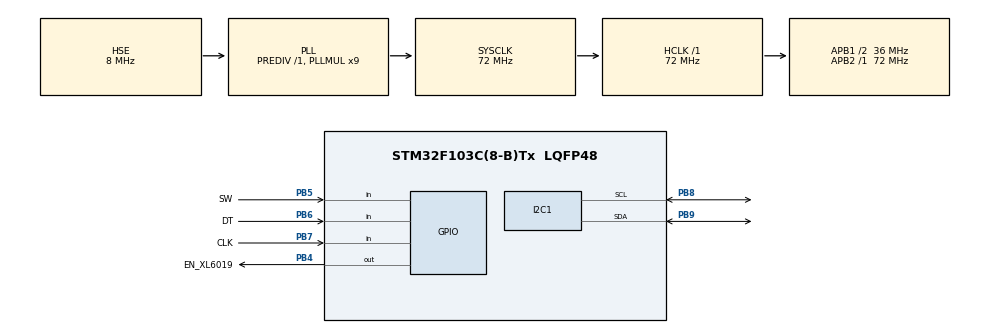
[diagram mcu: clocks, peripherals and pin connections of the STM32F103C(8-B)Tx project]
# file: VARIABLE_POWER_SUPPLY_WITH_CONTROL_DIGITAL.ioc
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Dma.I2C1_TX.0.Direction=DMA_MEMORY_TO_PERIPH
Dma.I2C1_TX.0.Instance=DMA1_Channel6
Dma.I2C1_TX.0.MemDataAlignment=DMA_MDATAALIGN_BYTE
Dma.I2C1_TX.0.MemInc=DMA_MINC_ENABLE
Dma.I2C1_TX.0.Mode=DMA_NORMAL
Dma.I2C1_TX.0.PeriphDataAlignment=DMA_PDATAALIGN_BYTE
Dma.I2C1_TX.0.PeriphInc=DMA_PINC_DISABLE
Dma.I2C1_TX.0.Priority=DMA_PRIORITY_LOW
Dma.Request0=I2C1_TX
I2C1.I2C_Mode=I2C_Fast
Mcu.Family=STM32F1
Mcu.Name=STM32F103C(8-B)Tx
Mcu.Package=LQFP48
NVIC.DMA1_Channel6_IRQn=true\:0\:0\:false\:false\:true\:false\:true\:true
NVIC.I2C1_EV_IRQn=true\:0\:0\:false\:false\:true\:true\:true\:true
NVIC.PriorityGroup=NVIC_PRIORITYGROUP_4
NVIC.TIM4_IRQn=true\:0\:0\:false\:false\:true\:true\:true\:true
PA13.Mode=Serial_Wire
PA13.Signal=SYS_JTMS-SWDIO
PA14.Mode=Serial_Wire
PA14.Signal=SYS_JTCK-SWCLK
PB4.GPIO_Label=EN_XL6019
PB4.Signal=GPIO_Output
PB5.GPIO_Label=SW
PB5.GPIO_Mode=GPIO_MODE_INPUT
PB5.GPIO_PuPd=GPIO_PULLDOWN
PB5.Signal=GPIO_Input
PB6.GPIO_Label=DT
PB6.GPIO_Mode=GPIO_MODE_INPUT
PB6.GPIO_PuPd=GPIO_PULLDOWN
PB6.Signal=GPIO_Input
PB7.GPIO_Label=CLK
PB7.GPIO_Mode=GPIO_MODE_INPUT
PB7.GPIO_PuPd=GPIO_PULLDOWN
PB7.Signal=GPIO_Input
PB8.Mode=I2C
PB8.Signal=I2C1_SCL
PB9.Mode=I2C
PB9.Signal=I2C1_SDA
PD0-OSC_IN.Mode=HSE-External-Oscillator
PD0-OSC_IN.Signal=RCC_OSC_IN
PD1-OSC_OUT.Mode=HSE-External-Oscillator
PD1-OSC_OUT.Signal=RCC_OSC_OUT
ProjectManager.HeapSize=0x200
ProjectManager.StackSize=0x400
ProjectManager.TargetToolchain=STM32CubeIDE
RCC.AHBFreq_Value=72000000
RCC.APB1CLKDivider=RCC_HCLK_DIV2
RCC.APB1Freq_Value=36000000
RCC.APB1TimFreq_Value=72000000
RCC.APB2Freq_Value=72000000
RCC.APB2TimFreq_Value=72000000
RCC.HCLKFreq_Value=72000000
RCC.PLLMUL=RCC_PLL_MUL9
RCC.PLLSourceVirtual=RCC_PLLSOURCE_HSE
RCC.SYSCLKFreq_VALUE=72000000
RCC.SYSCLKSource=RCC_SYSCLKSOURCE_PLLCLK
RCC.USBFreq_Value=72000000
TIM4.Period=10-1
TIM4.Prescaler=36000-1
VP_TIM4_VS_ClockSourceINT.Mode=Internal
board=custom

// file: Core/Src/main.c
/* USER CODE BEGIN Header */
/**
  ******************************************************************************
  * @file           : main.c
  * @brief          : Main program body
  ******************************************************************************
  * @attention
  *
  * Copyright (c) 2025 STMicroelectronics.
  * All rights reserved.
  *
  * This software is licensed under terms that can be found in the LICENSE file
  * in the root directory of this software component.
  * If no LICENSE file comes with this software, it is provided AS-IS.
  *
  ******************************************************************************
  */
/* USER CODE END Header */
#include "main.h"

/* USER CODE BEGIN Includes */
#include "stdio.h" //para sprintf
#include "Anglas_OLED_SSD1306_DMA.h"
#include "Anglas_IMAGENES.h"
#include "Anglas_ENCODER_ROT.h"
#include "Anglas_MCP4725.h"
#include "Anglas_INA226.h"
/* USER CODE END Includes */

I2C_HandleTypeDef hi2c1;
DMA_HandleTypeDef hdma_i2c1_tx;

TIM_HandleTypeDef htim4;

/* USER CODE BEGIN PV */
extern uint16_t encoder;
extern uint16_t paso_Encoder;

uint16_t dacOut;
char buff[50];
float power,current,voltage;
float Vbat;
uint8_t powerSupply=0;

/* USER CODE END PV */

void SystemClock_Config(void);
static void MX_GPIO_Init(void);
static void MX_DMA_Init(void);
static void MX_I2C1_Init(void);
static void MX_TIM4_Init(void);
/* USER CODE BEGIN PFP */
void medirVoltage(void);
void medirCorriente(void);
void medirPotencia(void);
void control_Button_Encoder(void);
void Control_Estabilizar(void);
void calculate_value_dac_12bits(void);
/* USER CODE END PFP */

int main(void)
{

  /* MCU Configuration--------------------------------------------------------*/

  /* Reset of all peripherals, Initializes the Flash interface and the Systick. */
  HAL_Init();

  /* Configure the system clock */
  SystemClock_Config();

  /* Initialize all configured peripherals */
  MX_GPIO_Init();
  MX_DMA_Init();
  MX_I2C1_Init();
  MX_TIM4_Init();
  /* USER CODE BEGIN 2 */
  HAL_TIM_Base_Start_IT(&htim4);

  OLED_Init_DMA();
  //OLED_Imagen_Small_DMA(2,0, AM_INTRO, 128, 64);
  //OLED_Print_Text_DMA(1,0,1,"Designed by G. Anglas");
  //OLED_Print_Text_DMA(0,110,1,"100");

  INA226_Init(3.2768,100,AVG_64,T_Vbus_1_1ms,T_Vshunt_1_1ms,MODE_SHUNT_BUS_CONTINUOUS);
  INA226_Mode_pinAlert(SHUNT_VOLTAGE_OVER);

  OLED_Print_Text_DMA(3,100,2,"OFF");
  OLED_Print_Text_DMA(5,104,1,"1.0");
  OLED_Print_Text_DMA(2,0,3,"0.0V ");
  OLED_Print_Text_DMA(6,25,2,"   0mA");
  OLED_Print_Text_DMA(7,96,1,"0.0W ");

  uint32_t startTime = HAL_GetTick(); // Tiempo inicial

  /* USER CODE END 2 */

  /* Infinite loop */
  /* USER CODE BEGIN WHILE */
  while (1)
  {
	  dacOut = encoder;
	  sprintf(buff,"%4i",dacOut);
	  OLED_Print_Text_DMA(6,96,1,buff);
	  MCP4725_Out(dacOut);

	  control_Button_Encoder();
	  voltage = INA226_Vbus();

	  //MOSTRAR EN EL DISPLAY CADA 700ms
	  if( HAL_GetTick() - startTime >= 700){
    	  medirVoltage();
		  medirCorriente();
		  medirPotencia();
		  startTime = HAL_GetTick();
	  }

    /* USER CODE END WHILE */

  }
}

void SystemClock_Config(void)
{
  RCC_OscInitTypeDef RCC_OscInitStruct = {0};
  RCC_ClkInitTypeDef RCC_ClkInitStruct = {0};

  /** Initializes the RCC Oscillators according to the specified parameters
  * in the RCC_OscInitTypeDef structure.
  */
  RCC_OscInitStruct.OscillatorType = RCC_OSCILLATORTYPE_HSE;
  RCC_OscInitStruct.HSEState = RCC_HSE_ON;
  RCC_OscInitStruct.HSEPredivValue = RCC_HSE_PREDIV_DIV1;
  RCC_OscInitStruct.HSIState = RCC_HSI_ON;
  RCC_OscInitStruct.PLL.PLLState = RCC_PLL_ON;
  RCC_OscInitStruct.PLL.PLLSource = RCC_PLLSOURCE_HSE;
  RCC_OscInitStruct.PLL.PLLMUL = RCC_PLL_MUL9;
  if (HAL_RCC_OscConfig(&RCC_OscInitStruct) != HAL_OK)
  {
    Error_Handler();
  }

  /** Initializes the CPU, AHB and APB buses clocks
  */
  RCC_ClkInitStruct.ClockType = RCC_CLOCKTYPE_HCLK|RCC_CLOCKTYPE_SYSCLK
                              |RCC_CLOCKTYPE_PCLK1|RCC_CLOCKTYPE_PCLK2;
  RCC_ClkInitStruct.SYSCLKSource = RCC_SYSCLKSOURCE_PLLCLK;
  RCC_ClkInitStruct.AHBCLKDivider = RCC_SYSCLK_DIV1;
  RCC_ClkInitStruct.APB1CLKDivider = RCC_HCLK_DIV2;
  RCC_ClkInitStruct.APB2CLKDivider = RCC_HCLK_DIV1;

  if (HAL_RCC_ClockConfig(&RCC_ClkInitStruct, FLASH_LATENCY_2) != HAL_OK)
  {
    Error_Handler();
  }
}

static void MX_I2C1_Init(void)
{

  hi2c1.Instance = I2C1;
  hi2c1.Init.ClockSpeed = 400000;
  hi2c1.Init.DutyCycle = I2C_DUTYCYCLE_2;
  hi2c1.Init.OwnAddress1 = 0;
  hi2c1.Init.AddressingMode = I2C_ADDRESSINGMODE_7BIT;
  hi2c1.Init.DualAddressMode = I2C_DUALADDRESS_DISABLE;
  hi2c1.Init.OwnAddress2 = 0;
  hi2c1.Init.GeneralCallMode = I2C_GENERALCALL_DISABLE;
  hi2c1.Init.NoStretchMode = I2C_NOSTRETCH_DISABLE;
  if (HAL_I2C_Init(&hi2c1) != HAL_OK)
  {
    Error_Handler();
  }

}

static void MX_TIM4_Init(void)
{

  TIM_ClockConfigTypeDef sClockSourceConfig = {0};
  TIM_MasterConfigTypeDef sMasterConfig = {0};

  htim4.Instance = TIM4;
  htim4.Init.Prescaler = 36000-1;
  htim4.Init.CounterMode = TIM_COUNTERMODE_UP;
  htim4.Init.Period = 10-1;
  htim4.Init.ClockDivision = TIM_CLOCKDIVISION_DIV1;
  htim4.Init.AutoReloadPreload = TIM_AUTORELOAD_PRELOAD_DISABLE;
  if (HAL_TIM_Base_Init(&htim4) != HAL_OK)
  {
    Error_Handler();
  }
  sClockSourceConfig.ClockSource = TIM_CLOCKSOURCE_INTERNAL;
  if (HAL_TIM_ConfigClockSource(&htim4, &sClockSourceConfig) != HAL_OK)
  {
    Error_Handler();
  }
  sMasterConfig.MasterOutputTrigger = TIM_TRGO_RESET;
  sMasterConfig.MasterSlaveMode = TIM_MASTERSLAVEMODE_DISABLE;
  if (HAL_TIMEx_MasterConfigSynchronization(&htim4, &sMasterConfig) != HAL_OK)
  {
    Error_Handler();
  }

}

static void MX_DMA_Init(void)
{

  /* DMA controller clock enable */
  __HAL_RCC_DMA1_CLK_ENABLE();

  /* DMA interrupt init */
  /* DMA1_Channel6_IRQn interrupt configuration */
  HAL_NVIC_SetPriority(DMA1_Channel6_IRQn, 0, 0);
  HAL_NVIC_EnableIRQ(DMA1_Channel6_IRQn);

}

static void MX_GPIO_Init(void)
{
  GPIO_InitTypeDef GPIO_InitStruct = {0};

  /* GPIO Ports Clock Enable */
  __HAL_RCC_GPIOD_CLK_ENABLE();
  __HAL_RCC_GPIOA_CLK_ENABLE();
  __HAL_RCC_GPIOB_CLK_ENABLE();

  /*Configure GPIO pin Output Level */
  HAL_GPIO_WritePin(EN_XL6019_GPIO_Port, EN_XL6019_Pin, GPIO_PIN_RESET);

  /*Configure GPIO pin : EN_XL6019_Pin */
  GPIO_InitStruct.Pin = EN_XL6019_Pin;
  GPIO_InitStruct.Mode = GPIO_MODE_OUTPUT_PP;
  GPIO_InitStruct.Pull = GPIO_NOPULL;
  GPIO_InitStruct.Speed = GPIO_SPEED_FREQ_LOW;
  HAL_GPIO_Init(EN_XL6019_GPIO_Port, &GPIO_InitStruct);

  /*Configure GPIO pins : SW_Pin DT_Pin CLK_Pin */
  GPIO_InitStruct.Pin = SW_Pin|DT_Pin|CLK_Pin;
  GPIO_InitStruct.Mode = GPIO_MODE_INPUT;
  GPIO_InitStruct.Pull = GPIO_PULLDOWN;
  HAL_GPIO_Init(GPIOB, &GPIO_InitStruct);

}

/* USER CODE BEGIN 4 */
void control_Button_Encoder(void){
	static uint8_t mem=0,suma=1;//suma=1 para iniciar en pasos de  100
	//Control del pulsador del ENCODER (SW)
    if(HAL_GPIO_ReadPin(SW_GPIO_Port, SW_Pin) == 0 && mem == 0){mem = 1;}
    if(HAL_GPIO_ReadPin(SW_GPIO_Port, SW_Pin) == 1 && mem == 1){suma++; mem = 0;}
    if(suma==1){suma=2;paso_Encoder = 100;OLED_Print_Text_DMA(5,104,1,"100");}
    if(suma==3){suma=4;paso_Encoder =  10;OLED_Print_Text_DMA(5,104,1," 10");}
    if(suma==5){suma=0;paso_Encoder =   1;OLED_Print_Text_DMA(5,104,1,"  1");}

    // Mantener presionado el SW por 2 segundos para encender o apagar el XL6019
    if (HAL_GPIO_ReadPin(SW_GPIO_Port, SW_Pin) == 0) {
        uint32_t startTime = HAL_GetTick();  //Guardar el tiempo en que se presionó el botón
        // Esperar mientras el botón está presionado
        while (HAL_GPIO_ReadPin(SW_GPIO_Port, SW_Pin) == 0) {
            if (HAL_GetTick() - startTime >= 1200) {  // Si han pasado 1.2 segundos
            	//para no modificar paso_Encoder agrego estas condiciones
            	if(suma==2) suma=0;
            	else if(suma==4) suma=2;
            	else if(suma==0) suma=4;

            	powerSupply = !powerSupply;  // Alternar el estado de powerSupply
                if(powerSupply == 1) OLED_Print_Text_DMA(3,100,2,"ON ");
                else				 OLED_Print_Text_DMA(3,100,2,"OFF");
                HAL_GPIO_TogglePin(EN_XL6019_GPIO_Port, EN_XL6019_Pin);
                break;  // Salir del bucle
            }
        }
    }
}

void medirVoltage(void){
	voltage = INA226_Vbus();
	if(voltage <= 9.99999) {
    	sprintf(buff,"%1.1fV ",voltage);
    	OLED_Print_Text_DMA(2,0,3,buff);
    	//cuado cambia de 9.9v a 10v se ve afectado estas variables y por momentos se borran
		sprintf(buff,"%2.1fV",Vbat);
		OLED_Print_Text_DMA(2,98,1,buff);
		if(powerSupply==2) OLED_Print_Text_DMA(3,100,2,"ON ");
    }else{
    	sprintf(buff,"%2.1fV",voltage);
    	OLED_Print_Text_DMA(2,0,3,buff);
    	//cuado cambia de 9.9v a 10v se ve afectado estas variables y por momentos se borran
		sprintf(buff,"%2.1fV",Vbat);
		OLED_Print_Text_DMA(2,98,1,buff);
		if(powerSupply==2) OLED_Print_Text_DMA(3,100,2,"ON ");
    }
}

void medirCorriente(void){
	current = INA226_Current();
	if(current>=0){
		sprintf(buff,"%4.0fmA",current);
		OLED_Print_Text_DMA(6,25,2,buff);
	}else{
		OLED_Print_Text_DMA(6,25,2,"   0mA");
	}
}

void medirPotencia(void){
	power = INA226_Power();
    if(power>=0){
	    sprintf(buff,"%2.1fW ",power);
	    OLED_Print_Text_DMA(7,96,1,buff);
    }else{
	    OLED_Print_Text_DMA(7,96,1,"0.0W ");
    }
}

/* USER CODE END 4 */

void Error_Handler(void)
{
  __disable_irq();
  while (1)
  {
  }
}
